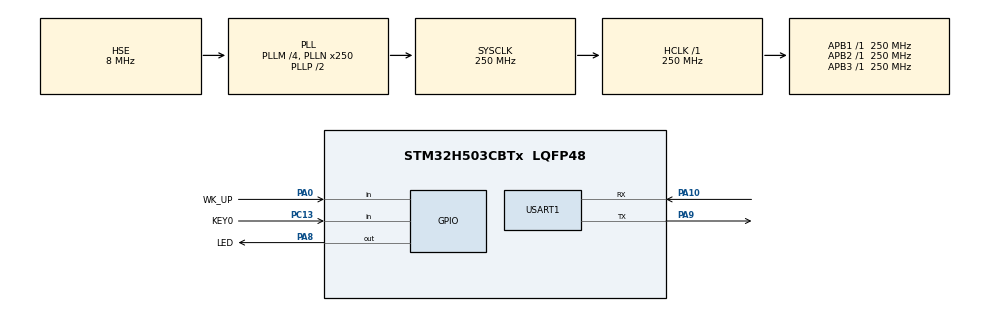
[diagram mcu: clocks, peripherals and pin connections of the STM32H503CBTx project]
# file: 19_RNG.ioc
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BOOTPATH.BootPathName=LEGACY
BOOTPATH.UserSelectedBootPath=LEGACY
Mcu.Family=STM32H5
Mcu.Name=STM32H503CBTx
Mcu.Package=LQFP48
NVIC.PriorityGroup=NVIC_PRIORITYGROUP_2
NVIC.TIM2_IRQn=true\:2\:1\:true\:false\:true\:true\:true\:true
NVIC.USART1_IRQn=true\:2\:2\:true\:false\:true\:true\:true\:true
PA0.GPIO_Label=WK_UP
PA0.GPIO_PuPd=GPIO_PULLDOWN
PA0.Signal=GPIO_Input
PA10.GPIO_ModeDefaultPP=GPIO_MODE_AF_PP
PA10.GPIO_Speed=GPIO_SPEED_FREQ_LOW
PA10.Mode=Asynchronous
PA10.Signal=USART1_RX
PA8.GPIO_Label=LED
PA8.GPIO_ModeDefaultOutputPP=GPIO_MODE_OUTPUT_PP
PA8.GPIO_PuPd=GPIO_PULLUP
PA8.PinState=GPIO_PIN_SET
PA8.Signal=GPIO_Output
PA9.GPIO_Speed=GPIO_SPEED_FREQ_HIGH
PA9.Mode=Asynchronous
PA9.Signal=USART1_TX
PC13.GPIO_Label=KEY0
PC13.GPIO_PuPd=GPIO_PULLDOWN
PC13.Signal=GPIO_Input
PC14-OSC32_IN(OSC32_IN).Mode=LSE-External-Oscillator
PC14-OSC32_IN(OSC32_IN).Signal=RCC_OSC32_IN
PC15-OSC32_OUT(OSC32_OUT).Mode=LSE-External-Oscillator
PC15-OSC32_OUT(OSC32_OUT).Signal=RCC_OSC32_OUT
PH0-OSC_IN(PH0).Mode=HSE-External-Oscillator
PH0-OSC_IN(PH0).Signal=RCC_OSC_IN
PH1-OSC_OUT(PH1).Mode=HSE-External-Oscillator
PH1-OSC_OUT(PH1).Signal=RCC_OSC_OUT
ProjectManager.HeapSize=0x200
ProjectManager.StackSize=0x400
ProjectManager.TargetToolchain=STM32CubeIDE
RCC.ADCFreq_Value=250000000
RCC.AHBFreq_Value=250000000
RCC.APB1Freq_Value=250000000
RCC.APB1TimFreq_Value=250000000
RCC.APB2Freq_Value=250000000
RCC.APB2TimFreq_Value=250000000
RCC.APB3Freq_Value=250000000
RCC.CSI_VALUE=4000000
RCC.CortexFreq_Value=250000000
RCC.EPOD_VALUE=8000000
RCC.HCLKFreq_Value=250000000
RCC.HSE_VALUE=8000000
RCC.HSI48_VALUE=48000000
RCC.HSI_VALUE=64000000
RCC.LSIRC_VALUE=32000
RCC.PLLM=4
RCC.PLLN=250
RCC.PLLSourceVirtual=RCC_PLL1_SOURCE_HSE
RCC.SYSCLKFreq_VALUE=250000000
RCC.SYSCLKSource=RCC_SYSCLKSOURCE_PLLCLK
RCC.USBFreq_Value=48000000
RCC.VCOOutputFreq_Value=500000000
TIM2.AutoReloadPreload=TIM_AUTORELOAD_PRELOAD_ENABLE
TIM2.PeriodNoDither=1000-1
TIM2.Prescaler=25000-1
USART1.VirtualMode=VM_ASYNC
VP_BOOTPATH_VS_BOOTPATH.Mode=BP_Activate
VP_ICACHE_VS_ICACHE.Mode=DefaultMode
VP_MEMORYMAP_VS_MEMORYMAP.Mode=CurAppReg
VP_PWR_VS_DBSignals.Mode=DisableDeadBatterySignals
VP_PWR_VS_LPOM.Mode=PowerOptimisation
VP_PWR_VS_SECSignals.Mode=Security/Privilege
VP_RNG_VS_RNG.Mode=RNG_Activate
VP_TIM2_VS_ClockSourceINT.Mode=Internal
board=custom

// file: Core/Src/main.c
/**
 ****************************************************************************************************
 * @file        main.c
 * @author      ALIENTEK
 * @brief       Hardware random number generator code
 * @license     Copyright (C) 2012-2024, ALIENTEK
 ****************************************************************************************************
 * @attention
 *
 * platform     : ALIENTEK M48-STM32H503 board
 * website      : www.alientek.com
 * forum        : www.openedv.com/forum.php
 *
 * change logs  ：
 * version      data         notes
 * V1.0         20240309     the first version
 *
 ****************************************************************************************************
 */

/* USER CODE BEGIN Header */

/* USER CODE END Header */
#include "main.h"
#include "icache.h"
#include "memorymap.h"
#include "rng.h"
#include "tim.h"
#include "usart.h"
#include "gpio.h"

/* USER CODE BEGIN Includes */
#include "../../ATK_Middlewares/USMART/usmart.h"
#include "../../BSP/LED/led.h"
#include "../../BSP/KEY/key.h"
/* USER CODE END Includes */

void SystemClock_Config(void);

/* USER CODE BEGIN 0 */
/**
 * @brief   Displays information about the experiment
 * @param   None
 * @retval  None
 */
void stm32h503cb_show_mesg(void)
{
	/* The serial port outputs the experimental information */
	printf("\n");
	printf("********************************\r\n");
	printf("STM32H503\r\n");
    printf("RNG Test\r\n");
    printf("ATOM@ALIENTEK\r\n");
    printf("RNG Ready!   \r\n");
    printf("KEY0:Get Random Num\r\n");
	printf("********************************\r\n");
	printf("\r\n");
}
/* USER CODE END 0 */

int main(void)
{
  /* USER CODE BEGIN 1 */
  uint8_t key;
  uint32_t random;
  uint8_t t = 0;
  /* USER CODE END 1 */

  /* MCU Configuration--------------------------------------------------------*/

  /* Reset of all peripherals, Initializes the Flash interface and the Systick. */
  HAL_Init();

  /* Configure the system clock */
  SystemClock_Config();

  /* Initialize all configured peripherals */
  MX_GPIO_Init();
  MX_ICACHE_Init();
  MX_USART1_UART_Init();
  MX_TIM2_Init();
  MX_RNG_Init();
  /* USER CODE BEGIN 2 */
  stm32h503cb_show_mesg();
  /* USER CODE END 2 */

  /* Infinite loop */
  /* USER CODE BEGIN WHILE */
  while (1)
  {
     key = key_scan(0);

     if (key == KEY0_PRES)   /* Get the random number and send it to the serial port */
     {
         random = rng_get_random_num();
         printf("Random Num:%d\r\n", (int)random);
     }

     if ((t % 20) == 0)      /* Get the random number between 0 and 9 and send it to the serial port */
     {
         LED_TOGGLE();
         random = rng_get_random_range(0, 9);
         printf("Random Num[0-9]:%d\r\n", (int)random);
     }

     t++;
	 HAL_Delay(10);   		 /* delay 10ms */
    /* USER CODE END WHILE */

  }
}

void SystemClock_Config(void)
{
  RCC_OscInitTypeDef RCC_OscInitStruct = {0};
  RCC_ClkInitTypeDef RCC_ClkInitStruct = {0};

  /** Configure the main internal regulator output voltage
  */
  __HAL_PWR_VOLTAGESCALING_CONFIG(PWR_REGULATOR_VOLTAGE_SCALE0);

  while(!__HAL_PWR_GET_FLAG(PWR_FLAG_VOSRDY)) {}

  /** Initializes the RCC Oscillators according to the specified parameters
  * in the RCC_OscInitTypeDef structure.
  */
  RCC_OscInitStruct.OscillatorType = RCC_OSCILLATORTYPE_HSI48|RCC_OSCILLATORTYPE_HSE;
  RCC_OscInitStruct.HSEState = RCC_HSE_ON;
  RCC_OscInitStruct.HSI48State = RCC_HSI48_ON;
  RCC_OscInitStruct.PLL.PLLState = RCC_PLL_ON;
  RCC_OscInitStruct.PLL.PLLSource = RCC_PLL1_SOURCE_HSE;
  RCC_OscInitStruct.PLL.PLLM = 4;
  RCC_OscInitStruct.PLL.PLLN = 250;
  RCC_OscInitStruct.PLL.PLLP = 2;
  RCC_OscInitStruct.PLL.PLLQ = 2;
  RCC_OscInitStruct.PLL.PLLR = 2;
  RCC_OscInitStruct.PLL.PLLRGE = RCC_PLL1_VCIRANGE_1;
  RCC_OscInitStruct.PLL.PLLVCOSEL = RCC_PLL1_VCORANGE_WIDE;
  RCC_OscInitStruct.PLL.PLLFRACN = 0;
  if (HAL_RCC_OscConfig(&RCC_OscInitStruct) != HAL_OK)
  {
    Error_Handler();
  }

  /** Initializes the CPU, AHB and APB buses clocks
  */
  RCC_ClkInitStruct.ClockType = RCC_CLOCKTYPE_HCLK|RCC_CLOCKTYPE_SYSCLK
                              |RCC_CLOCKTYPE_PCLK1|RCC_CLOCKTYPE_PCLK2
                              |RCC_CLOCKTYPE_PCLK3;
  RCC_ClkInitStruct.SYSCLKSource = RCC_SYSCLKSOURCE_PLLCLK;
  RCC_ClkInitStruct.AHBCLKDivider = RCC_SYSCLK_DIV1;
  RCC_ClkInitStruct.APB1CLKDivider = RCC_HCLK_DIV1;
  RCC_ClkInitStruct.APB2CLKDivider = RCC_HCLK_DIV1;
  RCC_ClkInitStruct.APB3CLKDivider = RCC_HCLK_DIV1;

  if (HAL_RCC_ClockConfig(&RCC_ClkInitStruct, FLASH_LATENCY_5) != HAL_OK)
  {
    Error_Handler();
  }
}

void Error_Handler(void)
{
  __disable_irq();
  while (1)
  {
  }
}
